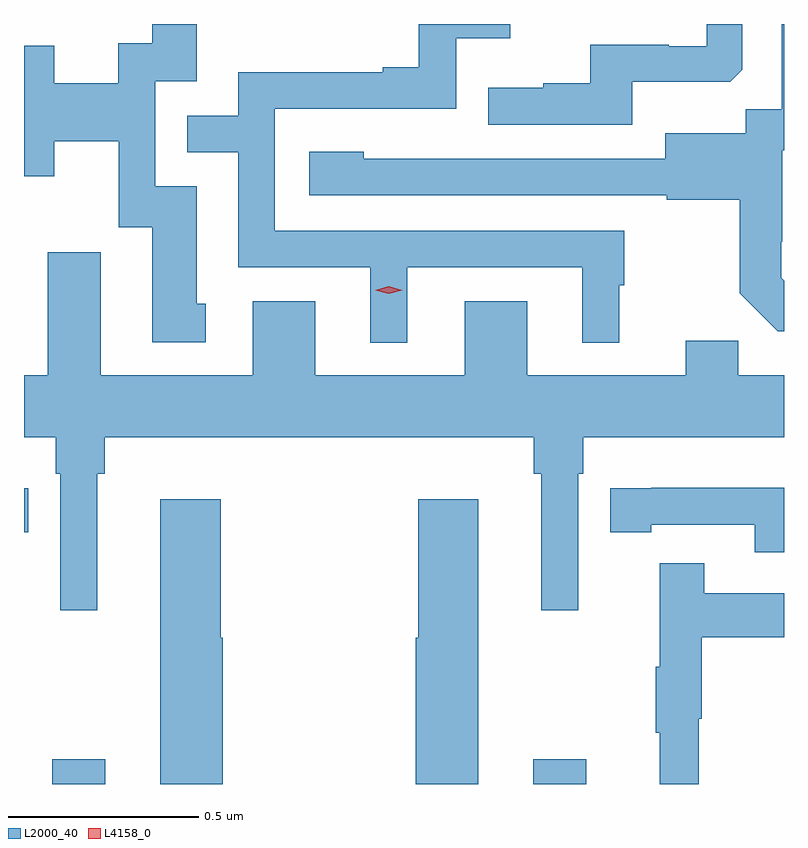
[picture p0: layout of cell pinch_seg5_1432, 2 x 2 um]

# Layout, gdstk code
import gdstk
lib = gdstk.Library(unit=1e-6, precision=1e-09)
def R(c, l, rs):  # rectangles x0, y0, x1, y1
    for r in rs: c.add(gdstk.rectangle(r[:2], r[2:], *l))
def P(c, l, *ps):  # polygons
    for p in ps: c.add(gdstk.Polygon(p, *l))
L2000_40 = (2000, 40)
L4158_0 = (4158, 0)

pinch_seg5_1432 = lib.new_cell('pinch_seg5_1432')
R(pinch_seg5_1432, L2000_40, [(142.409,899.804,142.549,899.869), (143.675,899.804,143.815,899.869), (142.335,900.466,142.346,900.582)])
P(pinch_seg5_1432, L2000_40, [(143.344,901.164),(143.804,901.164),(143.804,900.965),(143.902,900.965),(143.902,901.116),(143.914,901.116),(143.914,901.26),(142.995,901.26),(142.995,901.581),(143.472,901.581),(143.472,901.766),(143.614,901.766),(143.614,901.804),(143.374,901.804),(143.374,901.69),(143.279,901.69),(143.279,901.677),(142.899,901.677),(142.899,901.563),(142.765,901.563),(142.765,901.467),(142.899,901.467),(142.899,901.164),(143.246,901.164),(143.246,900.965),(143.344,900.965)],
  [(144.335,901.129),(144.328,901.136),(144.328,901.231),(144.33,901.231),(144.33,901.472),(144.335,901.472),(144.335,901.804),(144.329,901.804),(144.329,901.58),(144.234,901.58),(144.234,901.516),(144.023,901.516),(144.023,901.449),(143.465,901.449),(143.465,901.45),(143.229,901.45),(143.229,901.468),(143.085,901.468),(143.085,901.353),(144.027,901.353),(144.027,901.341),(144.219,901.341),(144.219,901.095),(144.319,900.995),(144.335,900.995)],
  [(143.935,901.652),(144.193,901.652),(144.225,901.683),(144.225,901.804),(144.132,901.804),(144.132,901.746),(144.032,901.746),(144.032,901.749),(143.825,901.749),(143.825,901.648),(143.701,901.648),(143.701,901.636),(143.557,901.636),(143.557,901.539),(143.935,901.539)],
  [(142.813,901.068),(142.789,901.068),(142.789,901.377),(142.68,901.377),(142.68,901.653),(142.789,901.653),(142.789,901.804),(142.673,901.804),(142.673,901.754),(142.583,901.754),(142.583,901.648),(142.414,901.648),(142.414,901.747),(142.335,901.747),(142.335,901.403),(142.414,901.403),(142.414,901.496),(142.584,901.496),(142.584,901.269),(142.673,901.269),(142.673,900.966),(142.813,900.966)],
  [(142.528,900.62),(142.547,900.62),(142.547,900.716),(143.677,900.716),(143.677,900.62),(143.696,900.62),(143.696,900.261),(143.793,900.261),(143.793,900.62),(143.807,900.62),(143.807,900.716),(144.335,900.716),(144.335,900.88),(144.215,900.88),(144.215,900.971),(144.077,900.971),(144.077,900.88),(143.659,900.88),(143.659,901.075),(143.495,901.075),(143.495,900.88),(143.101,900.88),(143.101,901.075),(142.937,901.075),(142.937,900.88),(142.537,900.88),(142.537,901.204),(142.397,901.204),(142.397,900.88),(142.335,900.88),(142.335,900.716),(142.418,900.716),(142.418,900.62),(142.431,900.62),(142.431,900.261),(142.528,900.261)],
  [(144.335,900.583),(143.986,900.583),(143.986,900.582),(143.878,900.582),(143.878,900.466),(143.986,900.466),(143.986,900.486),(144.258,900.486),(144.258,900.414),(144.335,900.414)],
  [(142.858,900.189),(142.853,900.189),(142.853,900.553),(142.694,900.553),(142.694,899.804),(142.858,899.804)],
  [(143.53,900.553),(143.372,900.553),(143.372,900.189),(143.366,900.189),(143.366,899.804),(143.53,899.804)],
  [(144.11,899.976),(144.118,899.976),(144.118,900.19),(144.335,900.19),(144.335,900.306),(144.125,900.306),(144.125,900.385),(144.008,900.385),(144.008,900.113),(143.997,900.113),(143.997,899.939),(144.008,899.939),(144.008,899.804),(144.11,899.804)])
P(pinch_seg5_1432, L4158_0, [(143.295,901.094),(143.259,901.104),(143.259,901.104),(143.259,901.104),(143.295,901.114),(143.331,901.104),(143.331,901.104),(143.331,901.104)])

lib.write_gds('pinch_seg5_1432.gds')
